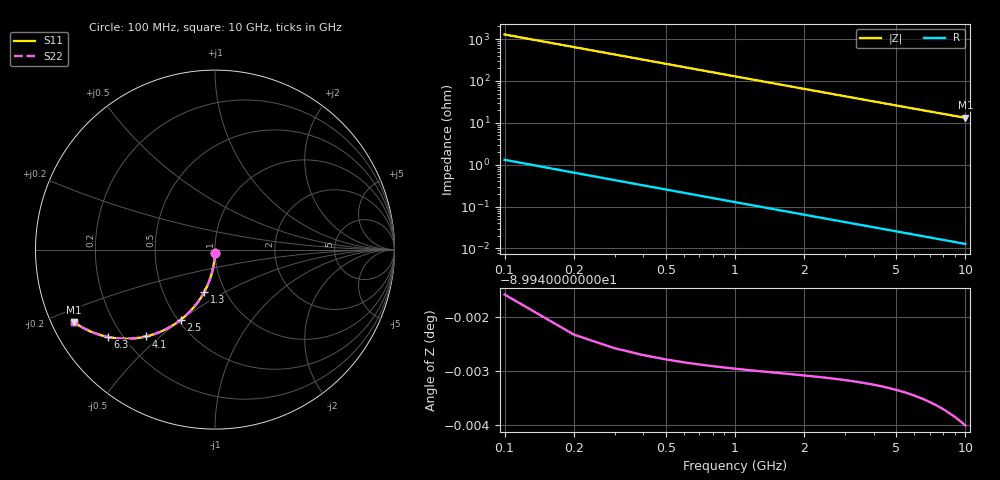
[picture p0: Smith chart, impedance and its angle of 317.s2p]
# Hz S RI R 50.00
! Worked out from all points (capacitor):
!   100 points, 100 MHz to 10 GHz, reference 50 ohm
!   read as one part in shunt: C = 1.24 pF near 100 MHz
!   lowest |Z| = 13.1 ohm at 10 GHz (marker M1)
!   S11 on the Smith chart (normalised r, x): 100 MHz: 1.00, -0.04; 1.3 GHz: 0.80, -0.40; 2.5 GHz: 0.52, -0.50; 4.1 GHz: 0.29, -0.45; 6.3 GHz: 0.15, -0.35; 10 GHz: 0.07, -0.24
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1e8  -0.000391 -0.0194  0.9996 -0.0195  0.9996 -0.0195  -0.000391 -0.0194
2e8  -0.00155 -0.0388  0.9984 -0.039  0.9984 -0.039  -0.00155 -0.0388
3e8  -0.00345 -0.0581  0.9965 -0.0584  0.9965 -0.0584  -0.00345 -0.0581
4e8  -0.0061 -0.0772  0.9939 -0.0777  0.9939 -0.0777  -0.0061 -0.0772
5e8  -0.00948 -0.0962  0.9905 -0.0967  0.9905 -0.0967  -0.00948 -0.0962
6e8  -0.0136 -0.1149  0.9864 -0.1156  0.9864 -0.1156  -0.0136 -0.1149
8e8  -0.0238 -0.1516  0.9762 -0.1525  0.9762 -0.1525  -0.0238 -0.1516
1e9  -0.0367 -0.1869  0.9633 -0.188  0.9633 -0.188  -0.0367 -0.1869
1.3e9  -0.0603 -0.2368  0.9397 -0.2383  0.9397 -0.2383  -0.0603 -0.2368
1.5e9  -0.0786 -0.2678  0.9214 -0.2694  0.9214 -0.2694  -0.0786 -0.2678
1.8e9  -0.1092 -0.3104  0.8908 -0.3124  0.8908 -0.3124  -0.1092 -0.3104
2.1e9  -0.1428 -0.3482  0.8572 -0.3505  0.8572 -0.3505  -0.1428 -0.3482
2.5e9  -0.1907 -0.391  0.8093 -0.3937  0.8093 -0.3937  -0.1907 -0.391
2.9e9  -0.2403 -0.4252  0.7597 -0.4284  0.7597 -0.4284  -0.2403 -0.4252
3.4e9  -0.3025 -0.457  0.6974 -0.4607  0.6974 -0.4607  -0.3025 -0.457
4.1e9  -0.3861 -0.4841  0.6139 -0.4886  0.6139 -0.4886  -0.3861 -0.4841
5.1e9  -0.4922 -0.4966  0.5078 -0.5023  0.5078 -0.5023  -0.4922 -0.4966
6.3e9  -0.5957 -0.4867  0.4042 -0.4938  0.4042 -0.4938  -0.5957 -0.4867
6.7e9  -0.6248 -0.4799  0.3752 -0.4875  0.3752 -0.4875  -0.6248 -0.4799
7.5e9  -0.6756 -0.4634  0.3243 -0.4719  0.3243 -0.4719  -0.6756 -0.4634
8.4e9  -0.7229 -0.4423  0.2771 -0.4519  0.2771 -0.4519  -0.7229 -0.4423
1e10  -0.7867 -0.4034  0.2132 -0.4148  0.2132 -0.4148  -0.7867 -0.4034
